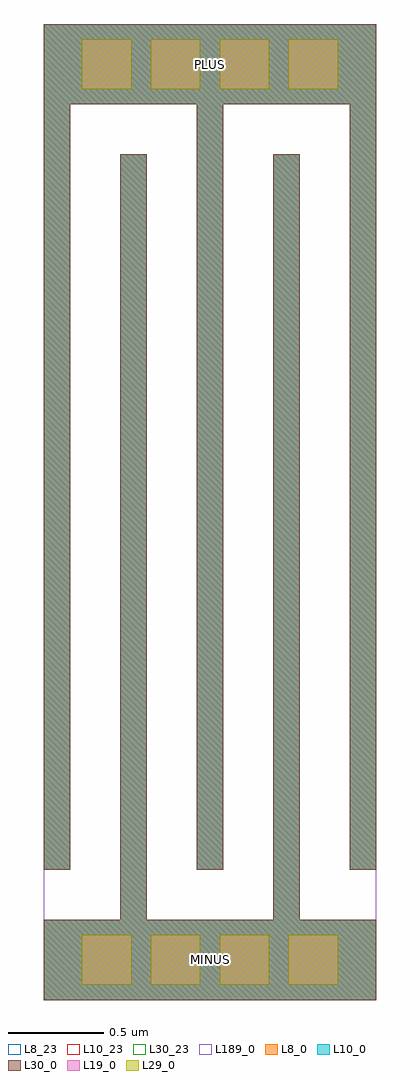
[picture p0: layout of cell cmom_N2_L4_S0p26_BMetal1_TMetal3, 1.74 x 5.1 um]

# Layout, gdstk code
import gdstk
lib = gdstk.Library(unit=1e-6, precision=1e-09)
def R(c, l, rs):  # rectangles x0, y0, x1, y1
    for r in rs: c.add(gdstk.rectangle(r[:2], r[2:], *l))
L8_0 = (8, 0)
L8_23 = (8, 23)
L10_0 = (10, 0)
L10_23 = (10, 23)
L19_0 = (19, 0)
L29_0 = (29, 0)
L30_0 = (30, 0)
L30_23 = (30, 23)
L189_0 = (189, 0)

rectangle_gdsfactorypcom = lib.new_cell('rectangle_gdsfactorypcomponentspshapesprectangle_S0p14__7f8085ce')
R(rectangle_gdsfactorypcom, L8_0, [(0,0,0.14,4)])

c_rectangle_gdsfactorypcom = lib.new_cell('rectangle_gdsfactorypcomponentspshapesprectangle_S1p74__b67e47f5')
R(c_rectangle_gdsfactorypcom, L8_0, [(0,0,1.74,0.42)])

bbox_gdsfactorypcomponen = lib.new_cell('bbox_gdsfactorypcomponentspshapespbbox_CUnnamed_100_LMe_7d3d7194')
R(bbox_gdsfactorypcomponen, L8_23, [(0,-0.42,1.74,4.68)])

c_rectangle_gdsfactorypcom_ = lib.new_cell('rectangle_gdsfactorypcomponentspshapesprectangle_S0p14__4036ba68')
R(c_rectangle_gdsfactorypcom_, L10_0, [(0,0,0.14,4)])

c_rectangle_gdsfactorypcom__ = lib.new_cell('rectangle_gdsfactorypcomponentspshapesprectangle_S1p74__3132c2fd')
R(c_rectangle_gdsfactorypcom__, L10_0, [(0,0,1.74,0.42)])

c_bbox_gdsfactorypcomponen = lib.new_cell('bbox_gdsfactorypcomponentspshapespbbox_CUnnamed_100_LMe_f71abd25')
R(c_bbox_gdsfactorypcomponen, L10_23, [(0,-0.42,1.74,4.68)])

c_rectangle_gdsfactorypcom___ = lib.new_cell('rectangle_gdsfactorypcomponentspshapesprectangle_S0p14__fe7b6632')
R(c_rectangle_gdsfactorypcom___, L30_0, [(0,0,0.14,4)])

c_rectangle_gdsfactorypcom____ = lib.new_cell('rectangle_gdsfactorypcomponentspshapesprectangle_S1p74__f3560246')
R(c_rectangle_gdsfactorypcom____, L30_0, [(0,0,1.74,0.42)])

c_bbox_gdsfactorypcomponen_ = lib.new_cell('bbox_gdsfactorypcomponentspshapespbbox_CUnnamed_100_LMe_6e857cb8')
R(c_bbox_gdsfactorypcomponen_, L30_23, [(0,-0.42,1.74,4.68)])

c_rectangle_gdsfactorypcom_____ = lib.new_cell('rectangle_gdsfactorypcomponentspshapesprectangle_S1p74__fff7516b')
R(c_rectangle_gdsfactorypcom_____, L8_0, [(-0.87,-0.21,0.87,0.21)])

c_rectangle_gdsfactorypcom______ = lib.new_cell('rectangle_gdsfactorypcomponentspshapesprectangle_S1p74__83bb5729')
R(c_rectangle_gdsfactorypcom______, L10_0, [(-0.87,-0.21,0.87,0.21)])

c_rectangle_gdsfactorypcom_______ = lib.new_cell('rectangle_gdsfactorypcomponentspshapesprectangle_S1p74__a4dcded5')
R(c_rectangle_gdsfactorypcom_______, L30_0, [(-0.87,-0.21,0.87,0.21)])

c_rectangle_gdsfactorypcom________ = lib.new_cell('rectangle_gdsfactorypcomponentspshapesprectangle_S0p26__6e8be91d')
R(c_rectangle_gdsfactorypcom________, L19_0, [(0,0,0.26,0.26)])

via_array_vtvia1_c4_r1_v = lib.new_cell('via_array_VTVia1_C4_R1_VS0p26_VS0p36_VE0p06_LVVia1drawi_20bb7262')
via_array_vtvia1_c4_r1_v.add(gdstk.Reference(c_rectangle_gdsfactorypcom________, (0,0)))
via_array_vtvia1_c4_r1_v.add(gdstk.Reference(c_rectangle_gdsfactorypcom________, (0.36,0)))
via_array_vtvia1_c4_r1_v.add(gdstk.Reference(c_rectangle_gdsfactorypcom________, (0.72,0)))
via_array_vtvia1_c4_r1_v.add(gdstk.Reference(c_rectangle_gdsfactorypcom________, (1.08,0)))

c_rectangle_gdsfactorypcom_________ = lib.new_cell('rectangle_gdsfactorypcomponentspshapesprectangle_S0p26__938c5197')
R(c_rectangle_gdsfactorypcom_________, L29_0, [(0,0,0.26,0.26)])

via_array_vtvia2_c4_r1_v = lib.new_cell('via_array_VTVia2_C4_R1_VS0p26_VS0p36_VE0p06_LVVia1drawi_5c30df5b')
via_array_vtvia2_c4_r1_v.add(gdstk.Reference(c_rectangle_gdsfactorypcom_________, (0,0)))
via_array_vtvia2_c4_r1_v.add(gdstk.Reference(c_rectangle_gdsfactorypcom_________, (0.36,0)))
via_array_vtvia2_c4_r1_v.add(gdstk.Reference(c_rectangle_gdsfactorypcom_________, (0.72,0)))
via_array_vtvia2_c4_r1_v.add(gdstk.Reference(c_rectangle_gdsfactorypcom_________, (1.08,0)))

via_stack_blmetal1_tlmet = lib.new_cell('via_stack_BLMetal1_TLMetal3_S1p74_0p42000000000000004_V_051d385e')
via_stack_blmetal1_tlmet.add(gdstk.Reference(c_rectangle_gdsfactorypcom_____, (0,0)))
via_stack_blmetal1_tlmet.add(gdstk.Reference(c_rectangle_gdsfactorypcom______, (0,0)))
via_stack_blmetal1_tlmet.add(gdstk.Reference(c_rectangle_gdsfactorypcom_______, (0,0)))
via_stack_blmetal1_tlmet.add(gdstk.Reference(via_array_vtvia1_c4_r1_v, (-0.67,-0.13)))
via_stack_blmetal1_tlmet.add(gdstk.Reference(via_array_vtvia2_c4_r1_v, (-0.67,-0.13)))

c_bbox_gdsfactorypcomponen__ = lib.new_cell('bbox_gdsfactorypcomponentspshapespbbox_CUnnamed_100_Lpr_b51731cd')
R(c_bbox_gdsfactorypcomponen__, L189_0, [(0,-0.42,1.74,4.68)])

cmom_n2_l4_s0p26_bmetal1 = lib.new_cell('cmom_N2_L4_S0p26_BMetal1_TMetal3')
r = gdstk.Reference(rectangle_gdsfactorypcom, (0,0.26)); r.repetition = gdstk.Repetition(3, 1, v1=(0.8,0), v2=(0,0)); cmom_n2_l4_s0p26_bmetal1.add(r)
r = gdstk.Reference(rectangle_gdsfactorypcom, (0.4,0)); r.repetition = gdstk.Repetition(2, 1, v1=(0.8,0), v2=(0,0)); cmom_n2_l4_s0p26_bmetal1.add(r)
cmom_n2_l4_s0p26_bmetal1.add(gdstk.Reference(c_rectangle_gdsfactorypcom, (0,4.26)))
cmom_n2_l4_s0p26_bmetal1.add(gdstk.Reference(c_rectangle_gdsfactorypcom, (0,-0.42)))
cmom_n2_l4_s0p26_bmetal1.add(gdstk.Reference(bbox_gdsfactorypcomponen, (0,0)))
r = gdstk.Reference(c_rectangle_gdsfactorypcom_, (0,0.26)); r.repetition = gdstk.Repetition(3, 1, v1=(0.8,0), v2=(0,0)); cmom_n2_l4_s0p26_bmetal1.add(r)
r = gdstk.Reference(c_rectangle_gdsfactorypcom_, (0.4,0)); r.repetition = gdstk.Repetition(2, 1, v1=(0.8,0), v2=(0,0)); cmom_n2_l4_s0p26_bmetal1.add(r)
cmom_n2_l4_s0p26_bmetal1.add(gdstk.Reference(c_rectangle_gdsfactorypcom__, (0,4.26)))
cmom_n2_l4_s0p26_bmetal1.add(gdstk.Reference(c_rectangle_gdsfactorypcom__, (0,-0.42)))
cmom_n2_l4_s0p26_bmetal1.add(gdstk.Reference(c_bbox_gdsfactorypcomponen, (0,0)))
r = gdstk.Reference(c_rectangle_gdsfactorypcom___, (0,0.26)); r.repetition = gdstk.Repetition(3, 1, v1=(0.8,0), v2=(0,0)); cmom_n2_l4_s0p26_bmetal1.add(r)
r = gdstk.Reference(c_rectangle_gdsfactorypcom___, (0.4,0)); r.repetition = gdstk.Repetition(2, 1, v1=(0.8,0), v2=(0,0)); cmom_n2_l4_s0p26_bmetal1.add(r)
cmom_n2_l4_s0p26_bmetal1.add(gdstk.Reference(c_rectangle_gdsfactorypcom____, (0,4.26)))
cmom_n2_l4_s0p26_bmetal1.add(gdstk.Reference(c_rectangle_gdsfactorypcom____, (0,-0.42)))
cmom_n2_l4_s0p26_bmetal1.add(gdstk.Reference(c_bbox_gdsfactorypcomponen_, (0,0)))
cmom_n2_l4_s0p26_bmetal1.add(gdstk.Reference(via_stack_blmetal1_tlmet, (0.87,-0.21)))
cmom_n2_l4_s0p26_bmetal1.add(gdstk.Reference(via_stack_blmetal1_tlmet, (0.87,4.47)))
cmom_n2_l4_s0p26_bmetal1.add(gdstk.Reference(c_bbox_gdsfactorypcomponen__, (0,0)))
cmom_n2_l4_s0p26_bmetal1.add(gdstk.Label('PLUS', (0.87,4.47), layer=30, texttype=1))
cmom_n2_l4_s0p26_bmetal1.add(gdstk.Label('MINUS', (0.87,-0.21), layer=30, texttype=1))

lib.write_gds('cmom_N2_L4_S0p26_BMetal1_TMetal3.gds')
